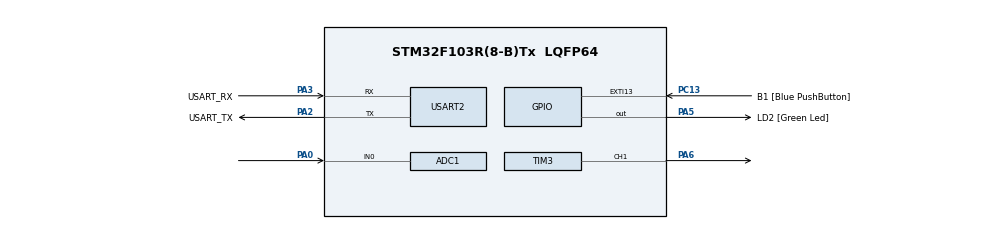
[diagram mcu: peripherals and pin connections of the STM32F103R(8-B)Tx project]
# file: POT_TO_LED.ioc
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ADC1.Channel-0\#ChannelRegularConversion=ADC_CHANNEL_0
ADC1.ContinuousConvMode=ENABLE
ADC1.ExternalTrigConv=ADC_SOFTWARE_START
ADC1.NbrOfConversionFlag=1
ADC1.Rank-0\#ChannelRegularConversion=1
ADC1.SamplingTime-0\#ChannelRegularConversion=ADC_SAMPLETIME_1CYCLE_5
ADC1.master=1
Dma.ADC1.0.Direction=DMA_PERIPH_TO_MEMORY
Dma.ADC1.0.Instance=DMA1_Channel1
Dma.ADC1.0.MemDataAlignment=DMA_MDATAALIGN_HALFWORD
Dma.ADC1.0.MemInc=DMA_MINC_ENABLE
Dma.ADC1.0.Mode=DMA_CIRCULAR
Dma.ADC1.0.PeriphDataAlignment=DMA_PDATAALIGN_HALFWORD
Dma.ADC1.0.PeriphInc=DMA_PINC_DISABLE
Dma.ADC1.0.Priority=DMA_PRIORITY_LOW
Dma.Request0=ADC1
Mcu.Family=STM32F1
Mcu.Name=STM32F103R(8-B)Tx
Mcu.Package=LQFP64
NVIC.DMA1_Channel1_IRQn=true\:0\:0\:false\:false\:true\:false\:true\:true
NVIC.EXTI15_10_IRQn=true\:0\:0\:false\:false\:true\:true\:true\:true
NVIC.PriorityGroup=NVIC_PRIORITYGROUP_4
PA0-WKUP.Signal=ADCx_IN0
PA13.GPIO_Label=TMS
PA13.Mode=Serial_Wire
PA13.Signal=SYS_JTMS-SWDIO
PA14.GPIO_Label=TCK
PA14.Mode=Serial_Wire
PA14.Signal=SYS_JTCK-SWCLK
PA2.GPIO_Label=USART_TX
PA2.GPIO_Mode=GPIO_MODE_AF_PP
PA2.GPIO_PuPd=GPIO_NOPULL
PA2.GPIO_Speed=GPIO_SPEED_FREQ_LOW
PA2.Mode=Asynchronous
PA2.Signal=USART2_TX
PA3.GPIO_Label=USART_RX
PA3.GPIO_Mode=GPIO_MODE_AF_PP
PA3.GPIO_PuPd=GPIO_NOPULL
PA3.GPIO_Speed=GPIO_SPEED_FREQ_LOW
PA3.Mode=Asynchronous
PA3.Signal=USART2_RX
PA5.GPIO_Label=LD2 [Green Led]
PA5.GPIO_ModeDefaultOutputPP=GPIO_MODE_OUTPUT_PP
PA5.GPIO_PuPd=GPIO_NOPULL
PA5.GPIO_Speed=GPIO_SPEED_FREQ_LOW
PA5.Signal=GPIO_Output
PA6.Signal=S_TIM3_CH1
PB3.GPIO_Label=SWO
PB3.Signal=SYS_JTDO-TRACESWO
PC13-TAMPER-RTC.GPIO_Label=B1 [Blue PushButton]
PC13-TAMPER-RTC.GPIO_PuPd=GPIO_NOPULL
PC13-TAMPER-RTC.Signal=GPXTI13
PC14-OSC32_IN.Mode=LSE-External-Oscillator
PC14-OSC32_IN.Signal=RCC_OSC32_IN
PC15-OSC32_OUT.Mode=LSE-External-Oscillator
PC15-OSC32_OUT.Signal=RCC_OSC32_OUT
PD0-OSC_IN.Mode=HSE-External-Clock-Source
PD0-OSC_IN.Signal=RCC_OSC_IN
PD1-OSC_OUT.Mode=HSE-External-Clock-Source
PD1-OSC_OUT.Signal=RCC_OSC_OUT
ProjectManager.HeapSize=0x200
ProjectManager.StackSize=0x400
ProjectManager.TargetToolchain=STM32CubeIDE
RCC.ADCPresc=RCC_ADCPCLK2_DIV6
RCC.AHBFreq_Value=72000000
RCC.APB1CLKDivider=RCC_HCLK_DIV2
RCC.APB1Freq_Value=36000000
RCC.APB1TimFreq_Value=72000000
RCC.APB2Freq_Value=72000000
RCC.APB2TimFreq_Value=72000000
RCC.HCLKFreq_Value=72000000
RCC.PLLMUL=RCC_PLL_MUL9
RCC.PLLSourceVirtual=RCC_PLLSOURCE_HSE
RCC.RTCClockSelection=RCC_RTCCLKSOURCE_LSE
RCC.SYSCLKFreq_VALUE=72000000
RCC.SYSCLKSource=RCC_SYSCLKSOURCE_PLLCLK
RCC.USBFreq_Value=72000000
SH.ADCx_IN0.0=ADC1_IN0,IN0
SH.S_TIM3_CH1.0=TIM3_CH1,PWM Generation1 CH1
TIM3.Channel-PWM\ Generation1\ CH1=TIM_CHANNEL_1
TIM3.Period=99
TIM3.Prescaler=7199
USART2.VirtualMode=VM_ASYNC
VP_TIM3_VS_ClockSourceINT.Mode=Internal
board=NUCLEO-F103RB

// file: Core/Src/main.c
/* USER CODE BEGIN Header */
/**
  ******************************************************************************
  * @file           : main.c
  * @brief          : Main program body
  ******************************************************************************
  * @attention
  *
  * Copyright (c) 2023 STMicroelectronics.
  * All rights reserved.
  *
  * This software is licensed under terms that can be found in the LICENSE file
  * in the root directory of this software component.
  * If no LICENSE file comes with this software, it is provided AS-IS.
  *
  ******************************************************************************
  */
/* USER CODE END Header */
#include "main.h"

/* USER CODE BEGIN PD */
#define ADC_BUFFER_SIZE 256
/* USER CODE END PD */

/* USER CODE BEGIN PV */

/* Buffer to store ADC values */
uint16_t adcBuf[ADC_BUFFER_SIZE];
/* USER CODE END PV */

void SystemClock_Config(void);
static void MX_GPIO_Init(void);
static void MX_DMA_Init(void);
static void MX_USART2_UART_Init(void);
static void MX_ADC1_Init(void);
static void MX_TIM3_Init(void);
/* USER CODE BEGIN PFP */
void Start_ADC_DMA();
void Start_ADC();
void Start_PWM();
/* USER CODE END PFP */

int main(void)
{
  /* USER CODE BEGIN 1 */
	/* Used to store adc value */
	uint16_t adcVal;
  /* USER CODE END 1 */

  /* MCU Configuration--------------------------------------------------------*/

  /* Reset of all peripherals, Initializes the Flash interface and the Systick. */
  LL_APB2_GRP1_EnableClock(LL_APB2_GRP1_PERIPH_AFIO);
  LL_APB1_GRP1_EnableClock(LL_APB1_GRP1_PERIPH_PWR);

  /* System interrupt init*/
  NVIC_SetPriorityGrouping(NVIC_PRIORITYGROUP_4);

  /** NOJTAG: JTAG-DP Disabled and SW-DP Enabled
  */
  LL_GPIO_AF_Remap_SWJ_NOJTAG();

  /* Configure the system clock */
  SystemClock_Config();

  /* Initialize all configured peripherals */
  MX_GPIO_Init();
  MX_DMA_Init();
  MX_USART2_UART_Init();
  MX_ADC1_Init();
  MX_TIM3_Init();
  /* USER CODE BEGIN 2 */

  /* Configure and start DMA for ADC */
  Start_ADC_DMA();

  /* Start ADC */
  Start_ADC();

  /* Start PWM */
  Start_PWM();

  /* USER CODE END 2 */

  /* Infinite loop */
  /* USER CODE BEGIN WHILE */
  while (1)
  {
	  /* Read value from ADC Buffer */
	  adcVal = adcBuf[0];
	  /* If value is not NULL, Set PWM Duty Cycle to it(value) */
	  if(adcVal != '\0') {
		  /*
		   * adcVal division by 16 is to make its value smaller,
		   * STM32F1 ADC has a 12 bit resolution its values range from 0-4095, 2^12 = 4096
		   * We divide by 12 to get a maximum of 255
		   */
		  LL_TIM_OC_SetCompareCH1(TIM3, (adcVal / 16));
	  }
    /* USER CODE END WHILE */

  }
}

void SystemClock_Config(void)
{
  LL_FLASH_SetLatency(LL_FLASH_LATENCY_2);
  while(LL_FLASH_GetLatency()!= LL_FLASH_LATENCY_2)
  {
  }
  LL_RCC_HSE_EnableBypass();
  LL_RCC_HSE_Enable();

   /* Wait till HSE is ready */
  while(LL_RCC_HSE_IsReady() != 1)
  {

  }
  LL_RCC_PLL_ConfigDomain_SYS(LL_RCC_PLLSOURCE_HSE_DIV_1, LL_RCC_PLL_MUL_9);
  LL_RCC_PLL_Enable();

   /* Wait till PLL is ready */
  while(LL_RCC_PLL_IsReady() != 1)
  {

  }
  LL_RCC_SetAHBPrescaler(LL_RCC_SYSCLK_DIV_1);
  LL_RCC_SetAPB1Prescaler(LL_RCC_APB1_DIV_2);
  LL_RCC_SetAPB2Prescaler(LL_RCC_APB2_DIV_1);
  LL_RCC_SetSysClkSource(LL_RCC_SYS_CLKSOURCE_PLL);

   /* Wait till System clock is ready */
  while(LL_RCC_GetSysClkSource() != LL_RCC_SYS_CLKSOURCE_STATUS_PLL)
  {

  }
  LL_Init1msTick(72000000);
  LL_SetSystemCoreClock(72000000);
  LL_RCC_SetADCClockSource(LL_RCC_ADC_CLKSRC_PCLK2_DIV_6);
}

static void MX_ADC1_Init(void)
{

  LL_ADC_InitTypeDef ADC_InitStruct = {0};
  LL_ADC_CommonInitTypeDef ADC_CommonInitStruct = {0};
  LL_ADC_REG_InitTypeDef ADC_REG_InitStruct = {0};

  LL_GPIO_InitTypeDef GPIO_InitStruct = {0};

  /* Peripheral clock enable */
  LL_APB2_GRP1_EnableClock(LL_APB2_GRP1_PERIPH_ADC1);

  LL_APB2_GRP1_EnableClock(LL_APB2_GRP1_PERIPH_GPIOA);
  /**ADC1 GPIO Configuration
  PA0-WKUP   ------> ADC1_IN0
  */
  GPIO_InitStruct.Pin = LL_GPIO_PIN_0;
  GPIO_InitStruct.Mode = LL_GPIO_MODE_ANALOG;
  LL_GPIO_Init(GPIOA, &GPIO_InitStruct);

  /* ADC1 DMA Init */

  /* ADC1 Init */
  LL_DMA_SetDataTransferDirection(DMA1, LL_DMA_CHANNEL_1, LL_DMA_DIRECTION_PERIPH_TO_MEMORY);

  LL_DMA_SetChannelPriorityLevel(DMA1, LL_DMA_CHANNEL_1, LL_DMA_PRIORITY_LOW);

  LL_DMA_SetMode(DMA1, LL_DMA_CHANNEL_1, LL_DMA_MODE_CIRCULAR);

  LL_DMA_SetPeriphIncMode(DMA1, LL_DMA_CHANNEL_1, LL_DMA_PERIPH_NOINCREMENT);

  LL_DMA_SetMemoryIncMode(DMA1, LL_DMA_CHANNEL_1, LL_DMA_MEMORY_INCREMENT);

  LL_DMA_SetPeriphSize(DMA1, LL_DMA_CHANNEL_1, LL_DMA_PDATAALIGN_HALFWORD);

  LL_DMA_SetMemorySize(DMA1, LL_DMA_CHANNEL_1, LL_DMA_MDATAALIGN_HALFWORD);

  /** Common config
  */
  ADC_InitStruct.DataAlignment = LL_ADC_DATA_ALIGN_RIGHT;
  ADC_InitStruct.SequencersScanMode = LL_ADC_SEQ_SCAN_DISABLE;
  LL_ADC_Init(ADC1, &ADC_InitStruct);
  ADC_CommonInitStruct.Multimode = LL_ADC_MULTI_INDEPENDENT;
  LL_ADC_CommonInit(__LL_ADC_COMMON_INSTANCE(ADC1), &ADC_CommonInitStruct);
  ADC_REG_InitStruct.TriggerSource = LL_ADC_REG_TRIG_SOFTWARE;
  ADC_REG_InitStruct.SequencerLength = LL_ADC_REG_SEQ_SCAN_DISABLE;
  ADC_REG_InitStruct.SequencerDiscont = LL_ADC_REG_SEQ_DISCONT_DISABLE;
  ADC_REG_InitStruct.ContinuousMode = LL_ADC_REG_CONV_CONTINUOUS;
  ADC_REG_InitStruct.DMATransfer = LL_ADC_REG_DMA_TRANSFER_UNLIMITED;
  LL_ADC_REG_Init(ADC1, &ADC_REG_InitStruct);

  /** Configure Regular Channel
  */
  LL_ADC_REG_SetSequencerRanks(ADC1, LL_ADC_REG_RANK_1, LL_ADC_CHANNEL_0);
  LL_ADC_SetChannelSamplingTime(ADC1, LL_ADC_CHANNEL_0, LL_ADC_SAMPLINGTIME_1CYCLE_5);

}

static void MX_TIM3_Init(void)
{

  LL_TIM_InitTypeDef TIM_InitStruct = {0};
  LL_TIM_OC_InitTypeDef TIM_OC_InitStruct = {0};

  LL_GPIO_InitTypeDef GPIO_InitStruct = {0};

  /* Peripheral clock enable */
  LL_APB1_GRP1_EnableClock(LL_APB1_GRP1_PERIPH_TIM3);

  TIM_InitStruct.Prescaler = 7199;
  TIM_InitStruct.CounterMode = LL_TIM_COUNTERMODE_UP;
  TIM_InitStruct.Autoreload = 99;
  TIM_InitStruct.ClockDivision = LL_TIM_CLOCKDIVISION_DIV1;
  LL_TIM_Init(TIM3, &TIM_InitStruct);
  LL_TIM_DisableARRPreload(TIM3);
  LL_TIM_SetClockSource(TIM3, LL_TIM_CLOCKSOURCE_INTERNAL);
  LL_TIM_OC_EnablePreload(TIM3, LL_TIM_CHANNEL_CH1);
  TIM_OC_InitStruct.OCMode = LL_TIM_OCMODE_PWM1;
  TIM_OC_InitStruct.OCState = LL_TIM_OCSTATE_DISABLE;
  TIM_OC_InitStruct.OCNState = LL_TIM_OCSTATE_DISABLE;
  TIM_OC_InitStruct.CompareValue = 0;
  TIM_OC_InitStruct.OCPolarity = LL_TIM_OCPOLARITY_HIGH;
  LL_TIM_OC_Init(TIM3, LL_TIM_CHANNEL_CH1, &TIM_OC_InitStruct);
  LL_TIM_OC_DisableFast(TIM3, LL_TIM_CHANNEL_CH1);
  LL_TIM_SetTriggerOutput(TIM3, LL_TIM_TRGO_RESET);
  LL_TIM_DisableMasterSlaveMode(TIM3);
  LL_APB2_GRP1_EnableClock(LL_APB2_GRP1_PERIPH_GPIOA);
  /**TIM3 GPIO Configuration
  PA6   ------> TIM3_CH1
  */
  GPIO_InitStruct.Pin = LL_GPIO_PIN_6;
  GPIO_InitStruct.Mode = LL_GPIO_MODE_ALTERNATE;
  GPIO_InitStruct.Speed = LL_GPIO_SPEED_FREQ_LOW;
  GPIO_InitStruct.OutputType = LL_GPIO_OUTPUT_PUSHPULL;
  LL_GPIO_Init(GPIOA, &GPIO_InitStruct);

}

static void MX_USART2_UART_Init(void)
{

  LL_USART_InitTypeDef USART_InitStruct = {0};

  LL_GPIO_InitTypeDef GPIO_InitStruct = {0};

  /* Peripheral clock enable */
  LL_APB1_GRP1_EnableClock(LL_APB1_GRP1_PERIPH_USART2);

  LL_APB2_GRP1_EnableClock(LL_APB2_GRP1_PERIPH_GPIOA);
  /**USART2 GPIO Configuration
  PA2   ------> USART2_TX
  PA3   ------> USART2_RX
  */
  GPIO_InitStruct.Pin = USART_TX_Pin;
  GPIO_InitStruct.Mode = LL_GPIO_MODE_ALTERNATE;
  GPIO_InitStruct.Speed = LL_GPIO_SPEED_FREQ_LOW;
  GPIO_InitStruct.OutputType = LL_GPIO_OUTPUT_PUSHPULL;
  LL_GPIO_Init(USART_TX_GPIO_Port, &GPIO_InitStruct);

  GPIO_InitStruct.Pin = USART_RX_Pin;
  GPIO_InitStruct.Mode = LL_GPIO_MODE_ALTERNATE;
  LL_GPIO_Init(USART_RX_GPIO_Port, &GPIO_InitStruct);

  USART_InitStruct.BaudRate = 115200;
  USART_InitStruct.DataWidth = LL_USART_DATAWIDTH_8B;
  USART_InitStruct.StopBits = LL_USART_STOPBITS_1;
  USART_InitStruct.Parity = LL_USART_PARITY_NONE;
  USART_InitStruct.TransferDirection = LL_USART_DIRECTION_TX_RX;
  USART_InitStruct.HardwareFlowControl = LL_USART_HWCONTROL_NONE;
  USART_InitStruct.OverSampling = LL_USART_OVERSAMPLING_16;
  LL_USART_Init(USART2, &USART_InitStruct);
  LL_USART_ConfigAsyncMode(USART2);
  LL_USART_Enable(USART2);

}

static void MX_DMA_Init(void)
{

  /* Init with LL driver */
  /* DMA controller clock enable */
  LL_AHB1_GRP1_EnableClock(LL_AHB1_GRP1_PERIPH_DMA1);

  /* DMA interrupt init */
  /* DMA1_Channel1_IRQn interrupt configuration */
  NVIC_SetPriority(DMA1_Channel1_IRQn, NVIC_EncodePriority(NVIC_GetPriorityGrouping(),0, 0));
  NVIC_EnableIRQ(DMA1_Channel1_IRQn);

}

static void MX_GPIO_Init(void)
{
  LL_EXTI_InitTypeDef EXTI_InitStruct = {0};
  LL_GPIO_InitTypeDef GPIO_InitStruct = {0};

  /* GPIO Ports Clock Enable */
  LL_APB2_GRP1_EnableClock(LL_APB2_GRP1_PERIPH_GPIOC);
  LL_APB2_GRP1_EnableClock(LL_APB2_GRP1_PERIPH_GPIOD);
  LL_APB2_GRP1_EnableClock(LL_APB2_GRP1_PERIPH_GPIOA);
  LL_APB2_GRP1_EnableClock(LL_APB2_GRP1_PERIPH_GPIOB);

  /**/
  LL_GPIO_ResetOutputPin(LD2_GPIO_Port, LD2_Pin);

  /**/
  LL_GPIO_AF_SetEXTISource(LL_GPIO_AF_EXTI_PORTC, LL_GPIO_AF_EXTI_LINE13);

  /**/
  EXTI_InitStruct.Line_0_31 = LL_EXTI_LINE_13;
  EXTI_InitStruct.LineCommand = ENABLE;
  EXTI_InitStruct.Mode = LL_EXTI_MODE_IT;
  EXTI_InitStruct.Trigger = LL_EXTI_TRIGGER_RISING;
  LL_EXTI_Init(&EXTI_InitStruct);

  /**/
  LL_GPIO_SetPinMode(B1_GPIO_Port, B1_Pin, LL_GPIO_MODE_FLOATING);

  /**/
  GPIO_InitStruct.Pin = LD2_Pin;
  GPIO_InitStruct.Mode = LL_GPIO_MODE_OUTPUT;
  GPIO_InitStruct.Speed = LL_GPIO_SPEED_FREQ_LOW;
  GPIO_InitStruct.OutputType = LL_GPIO_OUTPUT_PUSHPULL;
  LL_GPIO_Init(LD2_GPIO_Port, &GPIO_InitStruct);

  /* EXTI interrupt init*/
  NVIC_SetPriority(EXTI15_10_IRQn, NVIC_EncodePriority(NVIC_GetPriorityGrouping(),0, 0));
  NVIC_EnableIRQ(EXTI15_10_IRQn);

}

/* USER CODE BEGIN 4 */

/* Configure DMA for ADC, and start it */
void Start_ADC_DMA()
{
	// Disable DMA channel
	LL_DMA_DisableChannel(DMA1, LL_DMA_CHANNEL_1);

	// Set DMA Transfer addresses source and destination
	LL_DMA_ConfigAddresses(DMA1, LL_DMA_CHANNEL_1, LL_ADC_DMA_GetRegAddr(ADC1, LL_ADC_DMA_REG_REGULAR_DATA),
			(uint32_t)&adcBuf, LL_DMA_DIRECTION_PERIPH_TO_MEMORY);
	// Set Number of data to transfer
	LL_DMA_SetDataLength(DMA1, LL_DMA_CHANNEL_1, ADC_BUFFER_SIZE);

	/* Enable DMA channel */
	LL_DMA_EnableChannel(DMA1, LL_DMA_CHANNEL_1);
}

/* Enable ADC and Start Conversion */
void Start_ADC()
{
	/* Enable ADC and wait for it to enable */
	LL_ADC_Enable(ADC1);
	while(!LL_ADC_IsEnabled(ADC1));

	/* Start ADC group regular conversion */
	LL_ADC_REG_StartConversionSWStart(ADC1);
}

/* Start PWM */
void Start_PWM()
{
	// Enable timer counter
	LL_TIM_EnableCounter(TIM3);
	// Enable capture/compare channels
	LL_TIM_CC_EnableChannel(TIM3, LL_TIM_CHANNEL_CH1);
}

/* USER CODE END 4 */

void Error_Handler(void)
{
  __disable_irq();
  while (1)
  {
  }
}
